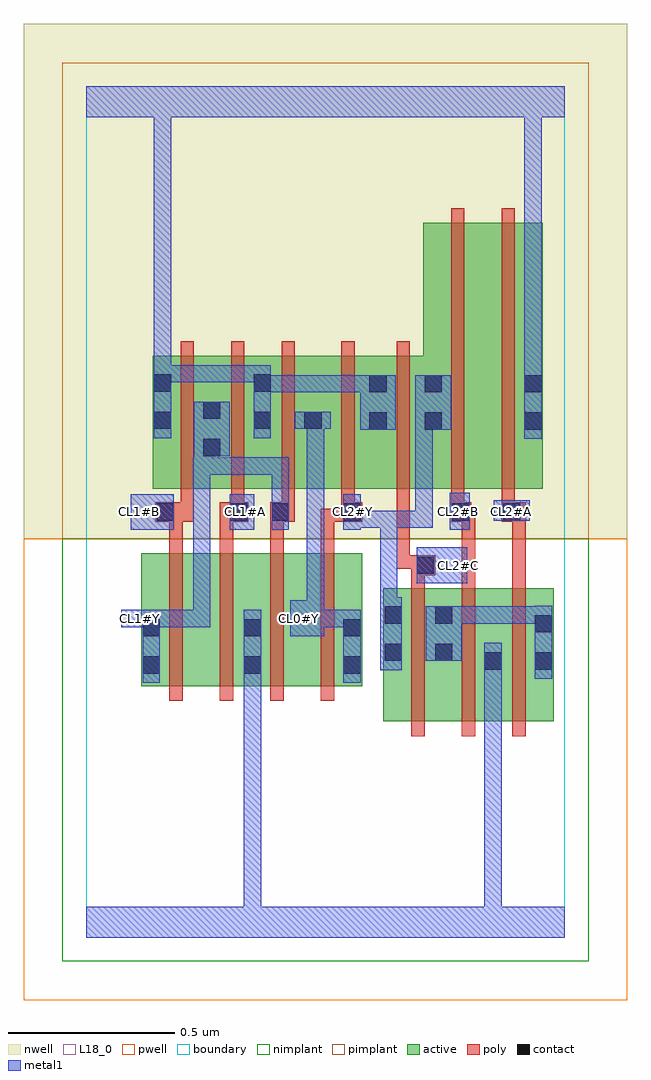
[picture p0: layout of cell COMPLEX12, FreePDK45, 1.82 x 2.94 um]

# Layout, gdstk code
import gdstk
lib = gdstk.Library(unit=1e-6, precision=1e-09)
def R(c, l, rs):  # rectangles x0, y0, x1, y1
    for r in rs: c.add(gdstk.rectangle(r[:2], r[2:], *l))
def A(c, l, x, y, w, h, nx, ny, dx, dy):  # array of equal rectangles
    R(c, l, [(x+i*dx, y+j*dy, x+i*dx+w, y+j*dy+h) for i in range(nx) for j in range(ny)])
active = (1, 0)
pwell = (2, 0)
nwell = (3, 0)
nimplant = (4, 0)
pimplant = (5, 0)
poly = (9, 0)
contact = (10, 0)
metal1 = (11, 0)
L18_0 = (18, 0)
boundary = (235, 0)

complex12 = lib.new_cell('COMPLEX12')
R(complex12, active, [(0.894,0.65,1.106,1.05), (1.046,0.65,1.254,1.05), (1.194,0.65,1.254,1.05), (1.194,0.65,1.406,1.05), (1.346,0.65,1.406,1.05), (0.166,0.756,0.226,1.156), (0.166,0.756,0.346,1.156), (0.346,0.756,0.53,1.156), (0.47,0.756,0.53,1.156), (0.47,0.756,0.65,1.156), (0.65,0.756,0.83,1.156), (0.77,0.756,0.83,1.156), (0.894,0.756,0.954,1.05), (1.046,0.756,1.106,1.05), (0.2,1.35,0.26,1.75), (0.2,1.35,0.408,1.75), (0.348,1.35,0.56,1.75), (0.5,1.35,0.56,1.75), (0.5,1.35,0.712,1.75), (0.652,1.35,0.712,1.75), (0.652,1.35,0.908,1.75), (0.848,1.35,0.908,1.75), (0.848,1.35,1.074,1.75), (1.014,1.35,1.074,2.15), (1.014,1.35,1.194,2.15), (1.194,1.35,1.374,2.15), (1.314,1.35,1.374,2.15), (0.348,1.444,0.408,1.644)])
R(complex12, pwell, [(-0.188,-0.188,1.628,1.2)])
R(complex12, nwell, [(-0.188,1.2,1.628,2.748)])
R(complex12, nimplant, [(-0.072,-0.072,1.512,1.2)])
R(complex12, pimplant, [(-0.072,1.2,1.512,2.632)])
A(complex12, poly, 0.978, 0.606, 0.04, 0.488, 3, 1, 0.152, 0)
A(complex12, poly, 0.25, 0.712, 0.04, 0.488, 4, 1, 0.152, 0)
A(complex12, poly, 0.25, 1.16, 0.04, 0.13, 4, 1, 0.152, 0)
A(complex12, poly, 0.284, 1.27, 0.04, 0.076, 3, 1, 0.152, 0)
A(complex12, poly, 0.284, 1.306, 0.04, 0.488, 3, 1, 0.152, 0)
R(complex12, poly, [(0.978,1.054,1.018,1.13), (1.13,1.054,1.17,1.29), (1.282,1.054,1.322,1.29), (0.978,1.09,1.05,1.15), (0.934,1.11,0.974,1.346), (0.934,1.11,1.018,1.15), (0.978,1.11,1.018,1.15), (0.208,1.25,0.324,1.31), (0.25,1.25,0.29,1.29), (0.25,1.25,0.29,1.29), (0.402,1.25,0.488,1.31), (0.554,1.25,0.594,1.29), (0.554,1.25,0.594,1.29), (0.554,1.25,0.628,1.31), (0.706,1.25,0.808,1.29), (0.768,1.25,0.808,1.29), (0.768,1.25,0.83,1.31), (1.098,1.25,1.158,1.31), (1.118,1.25,1.158,1.29), (1.118,1.25,1.17,1.29), (1.25,1.25,1.322,1.31), (0.436,1.27,0.476,1.31), (0.436,1.27,0.476,1.31), (0.768,1.27,0.808,1.346), (1.098,1.27,1.138,1.346), (1.25,1.27,1.29,1.346), (1.25,1.27,1.29,1.31), (1.25,1.27,1.29,1.31), (0.768,1.306,0.808,1.794), (0.934,1.306,0.974,1.794), (1.098,1.306,1.138,2.194), (1.25,1.306,1.29,2.194)])
R(complex12, contact, [(0.17,0.794,0.222,0.846), (0.474,0.794,0.526,0.846), (0.774,0.794,0.826,0.846), (1.198,0.806,1.25,0.858), (1.35,0.806,1.402,0.858), (0.898,0.832,0.95,0.884), (1.05,0.832,1.102,0.884), (0.17,0.906,0.222,0.958), (0.474,0.906,0.526,0.958), (0.774,0.906,0.826,0.958), (1.35,0.918,1.402,0.97), (0.898,0.944,0.95,0.996), (1.05,0.944,1.102,0.996), (0.994,1.094,1.046,1.146), (0.212,1.254,0.264,1.306), (0.432,1.254,0.484,1.306), (0.558,1.254,0.61,1.306), (0.774,1.254,0.826,1.306), (1.102,1.254,1.154,1.306), (1.254,1.254,1.306,1.306), (0.352,1.448,0.404,1.5), (0.852,1.528,0.904,1.58), (1.018,1.528,1.07,1.58), (1.318,1.528,1.37,1.58), (0.204,1.53,0.256,1.582), (0.504,1.53,0.556,1.582), (0.656,1.53,0.708,1.582), (0.352,1.56,0.404,1.612), (0.852,1.64,0.904,1.692), (1.018,1.64,1.07,1.692), (1.318,1.64,1.37,1.692), (0.204,1.642,0.256,1.694), (0.504,1.642,0.556,1.694)])
R(complex12, metal1, [(0,0,1.44,0.092), (0.474,0.04,0.526,0.092), (0.474,0.04,0.526,0.092), (0.474,0.04,0.526,0.092), (0.474,0.04,0.526,0.092), (0.474,0.04,0.526,0.092), (0.474,0.04,0.526,0.092), (0.474,0.04,0.526,0.092), (0.474,0.04,0.526,0.092), (0.474,0.04,0.526,0.092), (0.474,0.04,0.526,0.092), (0.474,0.04,0.526,0.092), (0.474,0.04,0.526,0.092), (0.474,0.04,0.526,0.818), (1.198,0.04,1.25,0.092), (1.198,0.04,1.25,0.092), (1.198,0.04,1.25,0.83), (0.17,0.766,0.222,0.986), (0.474,0.766,0.526,0.986), (0.774,0.766,0.826,0.986), (1.198,0.778,1.25,0.83), (1.198,0.778,1.25,0.83), (1.198,0.778,1.25,0.83), (1.198,0.778,1.25,0.83), (1.198,0.778,1.25,0.83), (1.198,0.778,1.25,0.83), (1.198,0.778,1.25,0.83), (1.198,0.778,1.25,0.83), (1.198,0.778,1.25,0.83), (1.198,0.778,1.25,0.83), (1.198,0.778,1.25,0.886), (1.35,0.778,1.402,0.998), (0.884,0.804,0.95,1.024), (1.022,0.832,1.13,0.996), (0.614,0.906,0.716,1.014), (0.106,0.934,0.222,0.986), (0.17,0.934,0.222,0.986), (0.17,0.934,0.222,0.986), (0.17,0.934,0.222,0.986), (0.17,0.934,0.374,0.986), (0.322,0.934,0.374,0.986), (0.322,0.934,0.374,1.444), (0.664,0.934,0.72,0.986), (0.668,0.934,0.72,0.986), (0.668,0.934,0.826,0.986), (0.774,0.934,0.826,0.986), (0.774,0.934,0.826,0.986), (1.078,0.944,1.13,0.996), (1.078,0.944,1.13,0.996), (1.078,0.944,1.26,0.996), (1.208,0.944,1.26,0.996), (1.208,0.944,1.402,0.996), (1.35,0.944,1.402,0.996), (1.35,0.944,1.402,0.996), (0.664,0.962,0.716,1.014), (0.664,0.962,0.716,1.014), (0.664,0.962,0.716,1.582), (0.884,0.972,0.936,1.024), (0.884,0.972,0.936,1.024), (0.884,0.972,0.936,1.284), (0.994,1.066,1.146,1.174), (0.134,1.226,0.264,1.334), (0.432,1.226,0.506,1.334), (0.558,1.226,0.61,1.444), (0.774,1.226,0.826,1.334), (1.094,1.226,1.154,1.338), (0.774,1.232,0.826,1.284), (0.774,1.232,0.826,1.284), (0.774,1.232,0.936,1.284), (0.884,1.232,0.936,1.284), (0.884,1.232,0.936,1.284), (0.884,1.232,0.936,1.284), (0.884,1.232,1.042,1.284), (0.99,1.232,1.042,1.284), (0.99,1.232,1.042,1.58), (1.226,1.254,1.334,1.316), (0.322,1.392,0.376,1.444), (0.324,1.392,0.376,1.444), (0.324,1.392,0.376,1.444), (0.324,1.392,0.376,1.5), (0.324,1.392,0.542,1.444), (0.49,1.392,0.542,1.444), (0.49,1.392,0.61,1.444), (0.324,1.448,0.432,1.612), (1.318,1.5,1.37,1.72), (0.204,1.502,0.256,1.722), (0.504,1.502,0.556,1.722), (0.824,1.528,0.932,1.692), (0.99,1.528,1.098,1.692), (0.628,1.53,0.736,1.582), (0.504,1.64,0.556,1.692), (0.504,1.64,0.556,1.692), (0.504,1.64,0.716,1.692), (0.664,1.64,0.716,1.692), (0.664,1.64,0.72,1.692), (0.668,1.64,0.72,1.692), (0.668,1.64,0.876,1.692), (1.318,1.668,1.37,2.52), (0.204,1.67,0.256,1.722), (0.204,1.67,0.256,1.722), (0.204,1.67,0.256,1.722), (0.204,1.67,0.256,1.722), (0.204,1.67,0.416,1.722), (0.204,1.67,0.256,2.52), (0.364,1.67,0.416,1.722), (0.364,1.67,0.416,1.722), (0.364,1.67,0.416,1.722), (0.364,1.67,0.556,1.722), (0,2.468,1.44,2.56), (0.204,2.468,0.256,2.52), (0.204,2.468,0.256,2.52), (0.204,2.468,0.256,2.52), (0.204,2.468,0.256,2.52), (0.204,2.468,0.256,2.52), (0.204,2.468,0.256,2.52), (0.204,2.468,0.256,2.52), (0.204,2.468,0.256,2.52), (0.204,2.468,0.256,2.52), (0.204,2.468,0.256,2.52), (0.204,2.468,0.256,2.52), (0.204,2.468,0.256,2.52), (0.204,2.468,0.256,2.52), (0.204,2.468,0.256,2.52), (1.318,2.468,1.37,2.52), (1.318,2.468,1.37,2.52), (1.318,2.468,1.37,2.52), (1.318,2.468,1.37,2.52), (1.318,2.468,1.37,2.52), (1.318,2.468,1.37,2.52), (1.318,2.468,1.37,2.52), (1.318,2.468,1.37,2.52)])
A(complex12, L18_0, 0.134, 1.254, 0.052, 0.052, 4, 1, 0.32, 0)
R(complex12, L18_0, [(0,0,1.44,0.092), (0.474,0.04,0.526,0.092), (0.474,0.04,0.526,0.092), (0.474,0.04,0.526,0.092), (0.474,0.04,0.526,0.092), (0.474,0.04,0.526,0.092), (0.474,0.04,0.526,0.092), (0.474,0.04,0.526,0.092), (0.474,0.04,0.526,0.092), (0.474,0.04,0.526,0.092), (0.474,0.04,0.526,0.092), (0.474,0.04,0.526,0.092), (0.474,0.04,0.526,0.092), (0.474,0.04,0.526,0.818), (1.198,0.04,1.25,0.092), (1.198,0.04,1.25,0.092), (1.198,0.04,1.25,0.83), (0.17,0.766,0.222,0.986), (0.474,0.766,0.526,0.986), (0.774,0.766,0.826,0.986), (1.198,0.778,1.25,0.83), (1.198,0.778,1.25,0.83), (1.198,0.778,1.25,0.83), (1.198,0.778,1.25,0.83), (1.198,0.778,1.25,0.83), (1.198,0.778,1.25,0.83), (1.198,0.778,1.25,0.83), (1.198,0.778,1.25,0.83), (1.198,0.778,1.25,0.83), (1.198,0.778,1.25,0.83), (1.198,0.778,1.25,0.886), (0.884,0.804,0.95,1.024), (0.614,0.906,0.716,1.014), (0.106,0.934,0.222,0.986), (0.134,0.934,0.186,0.986), (0.17,0.934,0.222,0.986), (0.17,0.934,0.222,0.986), (0.17,0.934,0.222,0.986), (0.17,0.934,0.374,0.986), (0.322,0.934,0.374,0.986), (0.322,0.934,0.374,1.444), (0.614,0.934,0.666,0.986), (0.664,0.934,0.72,0.986), (0.668,0.934,0.72,0.986), (0.668,0.934,0.826,0.986), (0.774,0.934,0.826,0.986), (0.774,0.934,0.826,0.986), (0.664,0.962,0.716,1.014), (0.664,0.962,0.716,1.014), (0.664,0.962,0.716,1.582), (0.884,0.972,0.936,1.024), (0.884,0.972,0.936,1.024), (0.884,0.972,0.936,1.284), (0.994,1.066,1.146,1.174), (1.094,1.094,1.146,1.146), (0.134,1.226,0.264,1.334), (0.432,1.226,0.506,1.334), (0.558,1.226,0.61,1.444), (0.774,1.226,0.826,1.334), (1.094,1.226,1.154,1.338), (0.774,1.232,0.826,1.284), (0.774,1.232,0.826,1.284), (0.774,1.232,0.936,1.284), (0.884,1.232,0.936,1.284), (0.884,1.232,0.936,1.284), (0.884,1.232,0.936,1.284), (0.884,1.232,1.042,1.284), (0.99,1.232,1.042,1.284), (0.99,1.232,1.042,1.58), (1.226,1.254,1.334,1.316), (1.254,1.254,1.306,1.306), (0.322,1.392,0.376,1.444), (0.324,1.392,0.376,1.444), (0.324,1.392,0.376,1.444), (0.324,1.392,0.376,1.5), (0.324,1.392,0.542,1.444), (0.49,1.392,0.542,1.444), (0.49,1.392,0.61,1.444), (0.324,1.448,0.432,1.612), (1.318,1.5,1.37,1.72), (0.204,1.502,0.256,1.722), (0.504,1.502,0.556,1.722), (0.824,1.528,0.932,1.692), (0.99,1.528,1.098,1.692), (0.628,1.53,0.736,1.582), (0.504,1.64,0.556,1.692), (0.504,1.64,0.556,1.692), (0.504,1.64,0.716,1.692), (0.664,1.64,0.716,1.692), (0.664,1.64,0.72,1.692), (0.668,1.64,0.72,1.692), (0.668,1.64,0.876,1.692), (1.318,1.668,1.37,2.52), (0.204,1.67,0.256,1.722), (0.204,1.67,0.256,1.722), (0.204,1.67,0.256,1.722), (0.204,1.67,0.256,1.722), (0.204,1.67,0.256,2.52), (0.204,1.67,0.416,1.722), (0.364,1.67,0.416,1.722), (0.364,1.67,0.416,1.722), (0.364,1.67,0.416,1.722), (0.364,1.67,0.556,1.722), (0,2.468,1.44,2.56), (0.204,2.468,0.256,2.52), (0.204,2.468,0.256,2.52), (0.204,2.468,0.256,2.52), (0.204,2.468,0.256,2.52), (0.204,2.468,0.256,2.52), (0.204,2.468,0.256,2.52), (0.204,2.468,0.256,2.52), (0.204,2.468,0.256,2.52), (0.204,2.468,0.256,2.52), (0.204,2.468,0.256,2.52), (0.204,2.468,0.256,2.52), (0.204,2.468,0.256,2.52), (0.204,2.468,0.256,2.52), (0.204,2.468,0.256,2.52), (1.318,2.468,1.37,2.52), (1.318,2.468,1.37,2.52), (1.318,2.468,1.37,2.52), (1.318,2.468,1.37,2.52), (1.318,2.468,1.37,2.52), (1.318,2.468,1.37,2.52), (1.318,2.468,1.37,2.52), (1.318,2.468,1.37,2.52)])
R(complex12, boundary, [(0,0,1.44,2.56)])
complex12.add(gdstk.Label('CL0#Y', (0.64,0.96), layer=11, texttype=0))
complex12.add(gdstk.Label('CL1#A', (0.48,1.28), layer=11, texttype=0))
complex12.add(gdstk.Label('CL1#B', (0.16,1.28), layer=11, texttype=0))
complex12.add(gdstk.Label('CL1#Y', (0.16,0.96), layer=11, texttype=0))
complex12.add(gdstk.Label('CL2#A', (1.28,1.28), layer=11, texttype=0))
complex12.add(gdstk.Label('CL2#B', (1.12,1.28), layer=11, texttype=0))
complex12.add(gdstk.Label('CL2#C', (1.12,1.12), layer=11, texttype=0))
complex12.add(gdstk.Label('CL2#Y', (0.8,1.28), layer=11, texttype=0))

lib.write_gds('COMPLEX12.gds')
